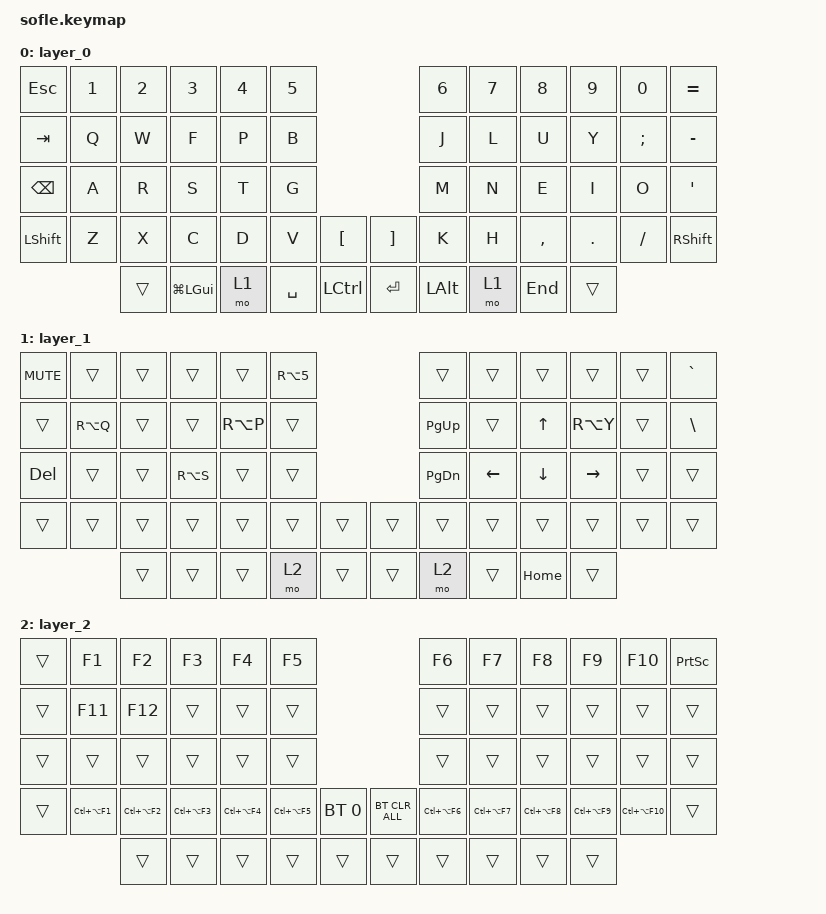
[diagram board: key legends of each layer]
#include <behaviors.dtsi>
#include <dt-bindings/zmk/bt.h>
#include <dt-bindings/zmk/keys.h>

/ {
    combos {
        compatible = "zmk,combos";

        caps {
            bindings = <&kp CAPSLOCK>;
            key-positions = <36 49>;
        };
    };

    keymap {
        compatible = "zmk,keymap";

        layer_0 {
            bindings = <
&kp ESC    &kp N1  &kp N2  &kp N3        &kp N4  &kp N5                             &kp N6    &kp N7  &kp N8     &kp N9   &kp N0    &kp EQUAL
&kp TAB    &kp Q   &kp W   &kp F         &kp P   &kp B                              &kp J     &kp L   &kp U      &kp Y    &kp SEMI  &kp MINUS
&kp BSPC   &kp A   &kp R   &kp S         &kp T   &kp G                              &kp M     &kp N   &kp E      &kp I    &kp O     &kp SQT
&kp LSHFT  &kp Z   &kp X   &kp C         &kp D   &kp V      &kp LBKT     &kp RBKT   &kp K     &kp H   &kp COMMA  &kp DOT  &kp FSLH  &kp RSHFT
                   &trans  &kp LG(LGUI)  &mo 1   &kp SPACE  &kp LCTRL    &kp ENTER  &kp LALT  &mo 1   &kp END    &trans
            >;
        };

        layer_1 {
            bindings = <
&kp K_MUTE  &trans     &trans  &trans     &trans     &kp RA(N5)                    &trans     &trans    &trans    &trans     &trans  &kp GRAVE
&trans      &kp RA(Q)  &trans  &trans     &kp RA(P)  &trans                        &kp PG_UP  &trans    &kp UP    &kp RA(Y)  &trans  &kp BSLH
&kp DELETE  &trans     &trans  &kp RA(S)  &trans     &trans                        &kp PG_DN  &kp LEFT  &kp DOWN  &kp RIGHT  &trans  &trans
&trans      &trans     &trans  &trans     &trans     &trans      &trans    &trans  &trans     &trans    &trans    &trans     &trans  &trans
                       &trans  &trans     &trans     &mo 2       &trans    &trans  &mo 2      &trans    &kp HOME  &trans
            >;
        };

        layer_2 {
            bindings = <
&trans  &kp F1          &kp F2          &kp F3          &kp F4          &kp F5                                          &kp F6          &kp F7          &kp F8          &kp F9          &kp F10          &kp PRINTSCREEN
&trans  &kp F11         &kp F12         &trans          &trans          &trans                                          &trans          &trans          &trans          &trans          &trans           &trans
&trans  &trans          &trans          &trans          &trans          &trans                                          &trans          &trans          &trans          &trans          &trans           &trans
&trans  &kp LC(LA(F1))  &kp LC(LA(F2))  &kp LC(LA(F3))  &kp LC(LA(F4))  &kp LC(LA(F5))  &bt BT_SEL 0    &bt BT_CLR_ALL  &kp LC(LA(F6))  &kp LC(LA(F7))  &kp LC(LA(F8))  &kp LC(LA(F9))  &kp LC(LA(F10))  &trans
                        &trans          &trans          &trans          &trans          &trans          &trans          &trans          &trans          &trans          &trans
            >;
        };
    };
};
